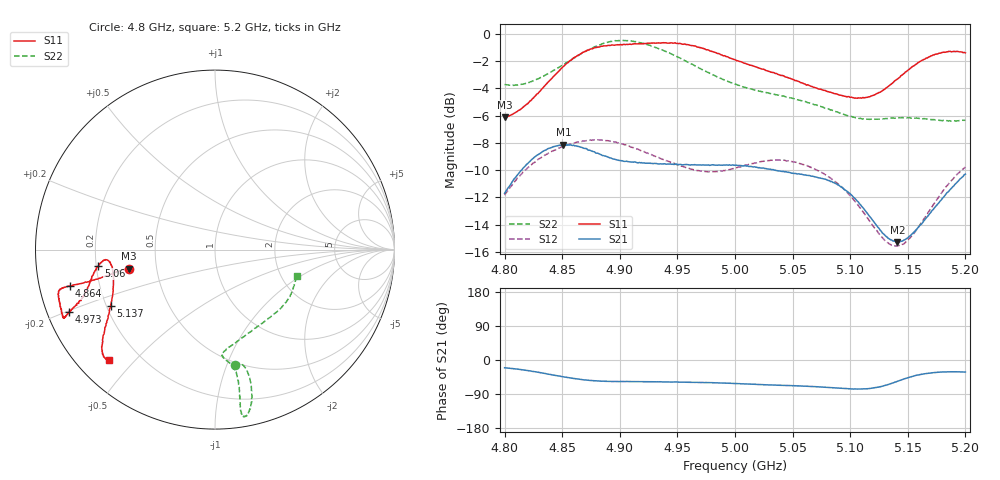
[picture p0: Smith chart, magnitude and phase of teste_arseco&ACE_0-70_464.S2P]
! Network Analyzer HP8722D
! Hewlett-Packard
! Data name: Linha & Wilkinson
! Saver's name: Rodrigo Anjos
! Comments: Teste da utilização de aquisição
! continua pelo VNA HP8722D
! Time and date: 8/5/2025 16:37
!  Frequency  S11  S21  S12  S22
# HZ  S  MA R 50
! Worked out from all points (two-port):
!   401 points, 4.8 GHz to 5.2 GHz, reference 50 ohm
!   highest |S21| = -8.13 dB at 4.851 GHz (marker M1); lowest = -15.3 dB at 5.141 GHz (marker M2)
!   |S21| within 3 dB of the highest: 4.804 GHz to 5.091 GHz (286.2 MHz wide, 5.78 % of centre); 5.190061 GHz to end of sweep
!   lowest |S11| = -6.1 dB at 4.8 GHz (marker M3), VSWR 2.95, Z = 17.1 - j4.83 ohm
!   |S11| at or under -10 dB: nowhere
!   |S22| runs from -6.4 to -0.5 dB; largest |S21 - S12| = 0.62
!   S11 on the Smith chart (normalised r, x): 4.8 GHz: 0.34, -0.10; 4.864 GHz: 0.09, -0.12; 4.973 GHz: 0.06, -0.20; 5.06 GHz: 0.21, -0.07; 5.137 GHz: 0.22, -0.24; 5.2 GHz: 0.10, -0.42
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4.8e9  0.4935 -167.5  0.2602 -20.5  0.2562 -141.5  0.6516 -80.2
4.826e9  0.5884 -166.9  0.3534 -30.8  0.3377 -145.6  0.675 -75.9
4.851e9  0.7581 -165.8  0.392 -44.4  0.3866 -150.2  0.7714 -75.0
4.864e9  0.836 -165.8  0.3868 -50.4  0.4008 -152.2  0.8322 -75.8
4.867e9  0.85 -166.0  0.3834 -51.6  0.4029 -152.7  0.8483 -75.9
4.898e9  0.9118 -163.2  0.3445 -56.7  0.3983 -156.8  0.9424 -79.5
4.934e9  0.926 -156.6  0.3336 -57.7  0.3518 -155.9  0.8805 -80.9
4.951e9  0.92 -155.6  0.3317 -58.4  0.33 -152.7  0.8193 -80.3
4.973e9  0.8828 -157.0  0.3304 -59.6  0.3131 -146.1  0.7331 -80.1
5e9  0.8041 -159.3  0.3299 -62.1  0.3217 -137.6  0.6538 -81.5
5.037e9  0.7107 -166.4  0.3149 -66.5  0.3442 -135.0  0.5962 -85.9
5.06e9  0.6559 -172.1  0.304 -68.9  0.3311 -136.9  0.5656 -84.3
5.067e9  0.6404 -173.5  0.3009 -69.8  0.3234 -137.6  0.5528 -82.6
5.083e9  0.6107 -174.7  0.2872 -73.0  0.2958 -139.0  0.5259 -76.6
5.101e9  0.586 -171.6  0.2569 -76.3  0.252 -139.2  0.498 -65.9
5.116e9  0.5872 -164.5  0.2164 -75.6  0.2084 -135.3  0.4863 -55.0
5.134e9  0.6459 -153.3  0.1769 -63.7  0.1697 -119.2  0.4895 -42.9
5.137e9  0.6609 -151.7  0.1742 -60.6  0.1676 -115.1  0.492 -41.2
5.141e9  0.6824 -149.5  0.172 -56.0  0.1666 -110.0  0.492 -38.8
5.154e9  0.7585 -144.0  0.1852 -43.3  0.1833 -94.0  0.4921 -32.1
5.172e9  0.8359 -139.0  0.2269 -33.5  0.236 -81.2  0.4847 -24.5
5.2e9  0.8507 -133.8  0.3059 -31.8  0.3247 -77.4  0.4824 -17.7
